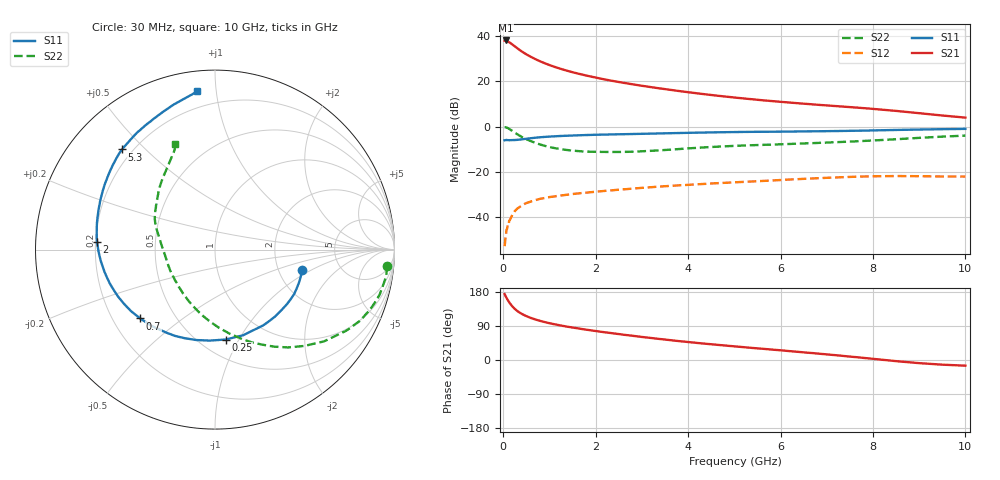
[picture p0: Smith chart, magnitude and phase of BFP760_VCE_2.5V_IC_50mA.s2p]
! Infineon Technologies  Discrete & RF Semiconductors
! BFP760
! VCE =  2.5 V,  IC =  50 mA
! Common Emitter S-Parameters:  Nov 2012
# GHz  S  MA  R  50
!  f  S11  S21  S12  S22
! GHz  MAG  ANG  MAG  ANG  MAG  ANG  MAG  ANG
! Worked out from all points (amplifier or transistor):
!   99 points, 30 MHz to 10 GHz, reference 50 ohm
!   highest |S21| = 38.0 dB at 50 MHz (marker M1)
!   |S21| within 3 dB of that: start of sweep to 276.8 MHz
!   unconditionally stable (mu >= 1): 3.658 GHz to end of sweep
!   at 350 MHz: K = 0.37, MSG = 34.7 dB, |S12| = -35.5 dB
!   at 3.5 GHz: K = 0.99, MSG = 21.4 dB, |S12| = -26.3 dB
!   at 10 GHz: K = 1.05, MAG = 11.6 dB, |S12| = -22.1 dB
!   S11 on the Smith chart (normalised r, x): 30 MHz: 2.71, -0.81; 250 MHz: 0.66, -0.88; 700 MHz: 0.32, -0.36; 2 GHz: 0.21, +0.03; 5.3 GHz: 0.16, +0.43; 10 GHz: 0.11, +0.89
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0.03  0.4977 -13.0  78.14 173.9  0.0023 95.5  0.9622 -5.5
0.05  0.5026 -21.1  79.03 168.7  0.0037 88.5  0.9616 -10.3
0.07  0.5057 -29.5  78.31 164.2  0.0053 81.0  0.9509 -15.3
0.09  0.5031 -37.0  76.39 159.9  0.006 78.8  0.9322 -19.8
0.12  0.501 -48.1  72.97 154.0  0.0073 70.4  0.8994 -26.2
0.15  0.5002 -57.7  69.94 148.7  0.009 70.4  0.8588 -31.8
0.2  0.5023 -71.8  64.11 141.1  0.0114 64.7  0.7939 -40.1
0.25  0.5045 -83.2  58.73 134.9  0.0136 61.5  0.7325 -47.1
0.35  0.5146 -101.7  49.13 125.5  0.0167 56.3  0.6328 -58.7
0.45  0.5301 -114.9  42 118.6  0.0194 52.0  0.5571 -68.2
0.6  0.5528 -129.8  34.28 110.9  0.0222 47.8  0.4744 -80.3
0.7  0.5666 -137.4  30.45 106.8  0.0239 45.4  0.4339 -87.5
0.9  0.5901 -149.2  24.82 100.0  0.0266 42.9  0.3746 -100.5
1.1  0.6075 -158.3  20.86 94.5  0.0287 40.8  0.3359 -111.8
1.7  0.6441 -176.8  14.03 81.8  0.0341 38.6  0.2832 -138.3
2  0.6582 176.4  12.02 76.5  0.0365 38.6  0.2768 -149.2
3.4  0.7047 152.8  6.902 55.3  0.0475 36.4  0.2994 174.9
5.1  0.7576 134.4  4.262 35.0  0.0595 32.3  0.3779 152.7
5.3  0.7615 132.9  4.069 32.8  0.0608 31.7  0.3843 150.8
6.7  0.7846 123.0  3.077 18.2  0.0717 27.0  0.4308 138.2
8.5  0.8402 105.9  2.21 -3.0  0.0809 15.3  0.5241 120.9
10  0.8871 96.5  1.573 -15.0  0.0789 10.0  0.6308 110.5
